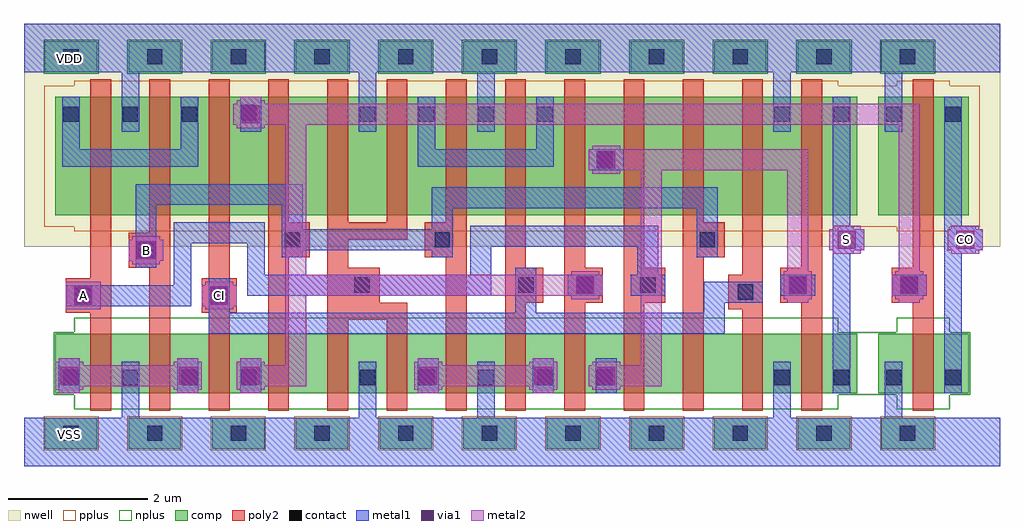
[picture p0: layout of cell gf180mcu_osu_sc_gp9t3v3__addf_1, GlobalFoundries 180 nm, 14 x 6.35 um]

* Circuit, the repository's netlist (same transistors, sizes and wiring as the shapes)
* Copyright 2022 Google LLC
*
* Licensed under the Apache License, Version 2.0 (the "License");
* you may not use this file except in compliance with the License.
* You may obtain a copy of the License at
*
*      http://www.apache.org/licenses/LICENSE-2.0
*
* Unless required by applicable law or agreed to in writing, software
* distributed under the License is distributed on an "AS IS" BASIS,
* WITHOUT WARRANTIES OR CONDITIONS OF ANY KIND, either express or implied.
* See the License for the specific language governing permissions and
* limitations under the License.

.option scale=0.05u

.subckt gf180mcu_osu_sc_gp9t3v3__addf_1 A B CI S CO
X0 a_9_70 B VDD VDD pmos_3p3 w=34 l=6
X1 a_110_70 A VDD VDD pmos_3p3 w=34 l=6
X2 S a_161_19 VSS VSS nmos_3p3 w=17 l=6
X3 S a_161_19 VDD VDD pmos_3p3 w=34 l=6
X4 a_195_19 B a_178_19 VSS nmos_3p3 w=17 l=6
X5 a_178_19 A a_161_19 VSS nmos_3p3 w=17 l=6
X6 a_195_70 B a_178_70 VDD pmos_3p3 w=34 l=6
X7 a_110_19 CI VSS VSS nmos_3p3 w=17 l=6
X8 a_178_70 A a_161_19 VDD pmos_3p3 w=34 l=6
X9 a_59_19 CI a_9_19 VSS nmos_3p3 w=17 l=6
X10 VSS B a_110_19 VSS nmos_3p3 w=17 l=6
X11 a_110_70 CI VDD VDD pmos_3p3 w=34 l=6
X12 VSS A a_9_19 VSS nmos_3p3 w=17 l=6
X13 a_59_19 CI a_9_70 VDD pmos_3p3 w=34 l=6
X14 VDD B a_110_70 VDD pmos_3p3 w=34 l=6
X15 CO a_59_19 VSS VSS nmos_3p3 w=17 l=6
X16 VDD A a_9_70 VDD pmos_3p3 w=34 l=6
X17 VSS CI a_195_19 VSS nmos_3p3 w=17 l=6
X18 CO a_59_19 VDD VDD pmos_3p3 w=34 l=6
X19 VDD CI a_195_70 VDD pmos_3p3 w=34 l=6
X20 VSS A a_76_19 VSS nmos_3p3 w=17 l=6
X21 a_161_19 a_59_19 a_110_19 VSS nmos_3p3 w=17 l=6
X22 a_76_19 B a_59_19 VSS nmos_3p3 w=17 l=6
X23 VDD A a_76_70 VDD pmos_3p3 w=34 l=6
X24 a_161_19 a_59_19 a_110_70 VDD pmos_3p3 w=34 l=6
X25 a_9_19 B VSS VSS nmos_3p3 w=17 l=6
X26 a_110_19 A VSS VSS nmos_3p3 w=17 l=6
X27 a_76_70 B a_59_19 VDD pmos_3p3 w=34 l=6
.ends

** hspice subcircuit dictionary

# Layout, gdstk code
import gdstk
lib = gdstk.Library(unit=1e-6, precision=1e-09)
def R(c, l, rs):  # rectangles x0, y0, x1, y1
    for r in rs: c.add(gdstk.rectangle(r[:2], r[2:], *l))
def A(c, l, x, y, w, h, nx, ny, dx, dy):  # array of equal rectangles
    R(c, l, [(x+i*dx, y+j*dy, x+i*dx+w, y+j*dy+h) for i in range(nx) for j in range(ny)])
nwell = (21, 0)
comp = (22, 0)
poly2 = (30, 0)
pplus = (31, 0)
nplus = (32, 0)
contact = (33, 0)
metal1 = (34, 0)
via1 = (35, 0)
metal2 = (36, 0)

gf180mcu_osu_sc_gp9t3v3_ = lib.new_cell('gf180mcu_osu_sc_gp9t3v3__addf_1')
R(gf180mcu_osu_sc_gp9t3v3_, nwell, [(0,3.15,14,6.35)])
A(gf180mcu_osu_sc_gp9t3v3_, comp, 0.3, 0.25, 0.75, 0.45, 11, 2, 1.2, 5.4)
R(gf180mcu_osu_sc_gp9t3v3_, comp, [(0.45,1.05,11.95,1.9), (12.25,1.05,13.55,1.9), (0.45,3.6,11.95,5.3), (12.25,3.6,13.55,5.3)])
A(gf180mcu_osu_sc_gp9t3v3_, poly2, 6.9, 0.8, 0.3, 1.55, 3, 1, 0.85, 0)
A(gf180mcu_osu_sc_gp9t3v3_, poly2, 6.9, 2.85, 0.3, 2.7, 3, 1, 0.85, 0)
A(gf180mcu_osu_sc_gp9t3v3_, poly2, 3.5, 3.5, 0.3, 2.05, 4, 1, 0.85, 0)
R(gf180mcu_osu_sc_gp9t3v3_, poly2, [(0.95,0.8,1.25,2.2), (1.8,0.8,2.1,2.85), (2.65,0.8,2.95,2.2), (3.5,0.8,3.8,3), (4.35,0.8,4.65,2.1), (5.2,0.8,5.5,2.1), (6.05,0.8,6.35,3), (9.45,0.8,9.75,3), (10.3,0.8,10.6,2.25), (11.15,0.8,11.45,2.35), (12.75,0.8,13.05,2.35), (4.35,2.1,5.5,2.35), (0.6,2.2,1.25,2.7), (2.55,2.2,3.05,2.7), (10.1,2.25,10.6,2.75), (4.35,2.35,5.1,2.85), (6.9,2.35,7.45,2.85), (7.75,2.35,8.3,2.85), (8.6,2.35,9.2,2.85), (10.85,2.35,11.45,2.85), (12.45,2.35,13.05,2.85), (0.95,2.7,1.25,5.55), (2.65,2.7,2.95,5.55), (10.3,2.75,10.6,5.55), (1.5,2.85,2.1,3.35), (4.35,2.85,4.65,3.25), (11.15,2.85,11.45,5.55), (12.75,2.85,13.05,5.55), (3.5,3,4.1,3.5), (5.75,3,6.35,3.5), (9.45,3,10.05,3.5), (4.35,3.25,5.5,3.5), (1.8,3.35,2.1,5.55), (9.45,3.5,9.75,5.55)])
A(gf180mcu_osu_sc_gp9t3v3_, pplus, 0.28, 0.23, 0.79, 0.49, 11, 1, 1.2, 0)
R(gf180mcu_osu_sc_gp9t3v3_, pplus, [(0.72,3.37,11.68,3.44), (12.52,3.37,13.28,3.44), (0.29,3.44,13.71,5.46), (0.72,5.46,11.68,5.53), (12.52,5.46,13.28,5.53)])
A(gf180mcu_osu_sc_gp9t3v3_, nplus, 0.28, 5.63, 0.79, 0.49, 11, 1, 1.2, 0)
R(gf180mcu_osu_sc_gp9t3v3_, nplus, [(0.72,0.82,11.68,1.03), (12.52,0.82,13.28,1.03), (0.43,1.03,13.57,1.92), (0.72,1.92,11.68,2.13), (12.52,1.92,13.28,2.13)])
A(gf180mcu_osu_sc_gp9t3v3_, contact, 0.565, 0.365, 0.22, 0.22, 11, 2, 1.2, 5.4)
A(gf180mcu_osu_sc_gp9t3v3_, contact, 0.565, 1.165, 0.22, 0.22, 4, 1, 0.85, 0)
A(gf180mcu_osu_sc_gp9t3v3_, contact, 4.815, 1.165, 0.22, 0.22, 5, 1, 0.85, 0)
A(gf180mcu_osu_sc_gp9t3v3_, contact, 0.565, 4.94, 0.22, 0.22, 3, 1, 0.85, 0)
A(gf180mcu_osu_sc_gp9t3v3_, contact, 4.815, 4.94, 0.22, 0.22, 4, 1, 0.85, 0)
R(gf180mcu_osu_sc_gp9t3v3_, contact, [(10.765,1.165,10.985,1.385), (11.615,1.165,11.835,1.385), (12.365,1.165,12.585,1.385), (13.215,1.165,13.435,1.385), (0.74,2.34,0.96,2.56), (2.69,2.34,2.91,2.56), (10.24,2.39,10.46,2.61), (4.74,2.49,4.96,2.71), (7.09,2.49,7.31,2.71), (7.94,2.49,8.16,2.71), (8.84,2.49,9.06,2.71), (10.99,2.49,11.21,2.71), (12.59,2.49,12.81,2.71), (1.64,2.99,1.86,3.21), (3.74,3.14,3.96,3.36), (5.89,3.14,6.11,3.36), (9.69,3.14,9.91,3.36), (8.215,4.29,8.435,4.51), (10.765,4.94,10.985,5.16), (11.615,4.94,11.835,5.16), (12.365,4.94,12.585,5.16), (13.215,4.94,13.435,5.16), (3.115,4.965,3.335,5.185)])
R(gf180mcu_osu_sc_gp9t3v3_, metal1, [(0,0,14,0.7), (1.4,0.7,1.65,1.5), (4.8,0.7,5.05,1.5), (6.5,0.7,6.75,1.5), (10.75,0.7,11,1.5), (12.35,0.7,12.6,1.5), (0.5,1.05,0.8,1.55), (2.2,1.05,2.5,1.55), (3.1,1.05,3.4,1.55), (5.65,1.05,5.95,1.55), (7.3,1.05,7.6,1.55), (8.2,1.05,8.5,1.55), (11.6,1.05,11.85,3.05), (13.2,1.05,13.45,3.05), (2.65,1.9,10.05,2.2), (2.65,2.2,2.95,2.7), (7.05,2.2,7.35,2.85), (9.75,2.2,10.05,2.35), (0.6,2.3,2.4,2.6), (9.75,2.35,10.6,2.65), (3.2,2.45,6.7,2.75), (7.8,2.45,8.3,2.75), (8.7,2.45,9.2,2.75), (10.85,2.45,11.35,2.75), (12.45,2.45,12.95,2.75), (2.15,2.6,2.4,3.2), (3.2,2.75,3.45,3.2), (6.4,2.75,6.7,3.15), (8.8,2.75,9.1,3.15), (1.6,2.85,1.9,3.75), (3.7,3,4,3.1), (5.85,3,6.15,3.1), (9.65,3,9.95,3.7), (11.6,3.05,11.9,3.1), (13.2,3.05,13.65,3.1), (3.7,3.1,6.15,3.4), (11.6,3.1,12.05,3.4), (13.2,3.1,13.75,3.4), (6.4,3.15,9.1,3.45), (2.15,3.2,3.45,3.5), (3.7,3.4,4,3.75), (5.85,3.4,6.15,3.7), (11.6,3.4,11.9,3.45), (13.2,3.4,13.65,3.45), (11.6,3.45,11.85,5.3), (13.2,3.45,13.45,5.3), (5.85,3.7,9.95,4), (1.6,3.75,4,4.05), (8.1,4.25,8.6,4.55), (0.55,4.3,2.5,4.55), (5.65,4.3,7.6,4.55), (0.55,4.55,0.8,5.3), (2.25,4.55,2.5,5.3), (5.65,4.55,5.9,5.3), (7.35,4.55,7.6,5.3), (1.4,4.8,1.65,5.65), (3.1,4.8,3.4,5.3), (4.8,4.8,5.05,5.65), (6.5,4.8,6.75,5.65), (10.75,4.8,11,5.65), (12.35,4.8,12.6,5.65), (0,5.65,14,6.35)])
R(gf180mcu_osu_sc_gp9t3v3_, via1, [(0.52,1.17,0.78,1.43), (2.22,1.17,2.48,1.43), (3.12,1.17,3.38,1.43), (5.67,1.17,5.93,1.43), (7.32,1.17,7.58,1.43), (8.22,1.17,8.48,1.43), (0.72,2.32,0.98,2.58), (2.67,2.32,2.93,2.58), (7.92,2.47,8.18,2.73), (10.97,2.47,11.23,2.73), (12.57,2.47,12.83,2.73), (1.62,2.97,1.88,3.23), (11.67,3.12,11.93,3.38), (13.37,3.12,13.63,3.38), (8.22,4.27,8.48,4.53), (3.12,4.92,3.38,5.18)])
R(gf180mcu_osu_sc_gp9t3v3_, metal2, [(0.5,1.05,0.8,1.1), (2.2,1.05,2.5,1.1), (3.1,1.05,3.4,1.1), (5.65,1.05,5.95,1.1), (7.3,1.05,7.6,1.1), (0.45,1.1,0.85,1.15), (2.15,1.1,2.55,1.15), (3.05,1.1,3.45,1.15), (5.6,1.1,6,1.15), (7.25,1.1,7.65,1.15), (8.15,1.1,8.55,1.15), (0.45,1.15,2.55,1.45), (3.05,1.15,4.05,1.45), (5.6,1.15,7.65,1.45), (8.1,1.15,9.15,1.45), (0.45,1.45,0.85,1.5), (2.15,1.45,2.55,1.5), (3.05,1.45,3.45,1.5), (3.75,1.45,4.05,2.45), (5.6,1.45,6,1.5), (7.25,1.45,7.65,1.5), (8.15,1.45,8.55,1.5), (8.85,1.45,9.15,4.25), (0.5,1.5,0.8,1.55), (2.2,1.5,2.5,1.55), (3.1,1.5,3.4,1.55), (5.65,1.5,5.95,1.55), (7.3,1.5,7.6,1.55), (0.6,2.25,1.1,2.65), (2.6,2.25,3,2.3), (2.55,2.3,3.05,2.6), (10.95,2.35,11.25,2.4), (12.55,2.35,12.85,2.4), (7.85,2.4,8.25,2.45), (10.9,2.4,11.3,2.8), (12.5,2.4,12.9,2.45), (3.75,2.45,8.3,2.75), (12.45,2.45,12.95,2.75), (2.6,2.6,3,2.65), (3.75,2.75,4.05,4.9), (7.85,2.75,8.25,2.8), (12.5,2.75,12.9,2.8), (10.95,2.8,11.25,4.25), (12.55,2.8,12.85,4.9), (1.55,2.9,1.95,2.95), (1.5,2.95,2,3.25), (11.6,3.05,12,3.1), (13.3,3.05,13.7,3.1), (11.55,3.1,12.05,3.4), (13.25,3.1,13.75,3.4), (1.55,3.25,1.95,3.3), (11.6,3.4,12,3.45), (13.3,3.4,13.7,3.45), (8.15,4.2,8.55,4.25), (8.1,4.25,11.25,4.55), (8.15,4.55,8.55,4.6), (3.05,4.85,3.45,4.9), (3,4.9,12.85,5.2), (3.05,5.2,3.45,5.25), (3.1,5.25,3.4,5.3)])
gf180mcu_osu_sc_gp9t3v3_.add(gdstk.Label('A', (0.85,2.45), layer=36, texttype=10))
gf180mcu_osu_sc_gp9t3v3_.add(gdstk.Label('B', (1.75,3.1), layer=36, texttype=10))
gf180mcu_osu_sc_gp9t3v3_.add(gdstk.Label('CI', (2.8,2.45), layer=36, texttype=10))
gf180mcu_osu_sc_gp9t3v3_.add(gdstk.Label('S', (11.8,3.25), layer=36, texttype=10))
gf180mcu_osu_sc_gp9t3v3_.add(gdstk.Label('CO', (13.5,3.25), layer=36, texttype=10))
gf180mcu_osu_sc_gp9t3v3_.add(gdstk.Label('VDD', (0.65,5.85), layer=34, texttype=10))
gf180mcu_osu_sc_gp9t3v3_.add(gdstk.Label('VSS', (0.65,0.45), layer=34, texttype=10))

lib.write_gds('gf180mcu_osu_sc_gp9t3v3__addf_1.gds')
